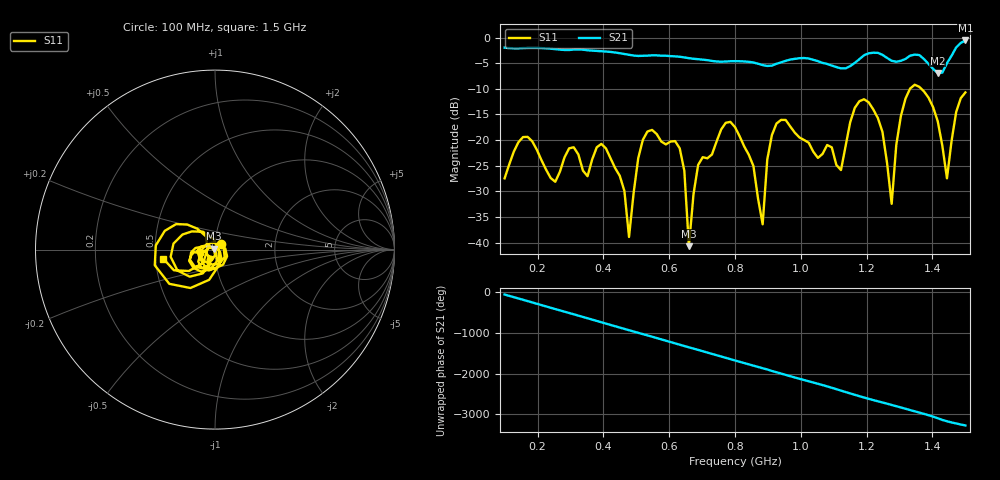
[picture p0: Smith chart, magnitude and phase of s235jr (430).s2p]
! NanoVNA-App
! Date: 2025-09-25 15:07:30
! Start: 100MHz Stop: 1,5GHz Points: 101
! S-Parameter data: F S11 S21 S12 S22
# Hz S RI R 50
!  Frequency  S11_Real  S11_Imag  S21_Real  S21_Imag  S12_Real  S12_Imag  S22_Real  S22_Imag
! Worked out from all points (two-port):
!   101 points, 100 MHz to 1.5 GHz, reference 50 ohm
!   highest |S21| = -0.56 dB at 1.5 GHz (marker M1); lowest = -6.9 dB at 1.416 GHz (marker M2)
!   |S21| within 3 dB of the highest: start of sweep to 501.7 MHz; 515.8 MHz to 593.7 MHz (77.85 MHz wide, 14 % of centre) (the widest 2 of 5)
!   lowest |S11| = -40.7 dB at 660 MHz (marker M3), VSWR 1.02, Z = 49.3 + j0.533 ohm
!   |S11| at or under -10 dB: start of sweep to 1.332 GHz; 1.366 GHz to end of sweep
!   S12 and S22 are empty: the file has one direction only
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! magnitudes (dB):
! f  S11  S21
! 100 MHz  -27.5  -2.0
! 156 MHz  -19.4  -2.0
! 338 MHz  -26.0  -2.4
! 408 MHz  -21.6  -2.7
! 478 MHz  -38.9  -3.4
! 520 MHz  -20.0  -3.5
! 576 MHz  -20.3  -3.5
! 632 MHz  -21.6  -3.7
! 660 MHz  -40.7  -4.0
! 688 MHz  -24.8  -4.2
! 800 MHz  -17.5  -4.6
! 884 MHz  -36.4  -5.4
! 926 MHz  -16.8  -5.1
! 1.038 GHz  -22.3  -4.3
! 1.122 GHz  -25.9  -6.0
! 1.206 GHz  -12.6  -3.1
! 1.248 GHz  -18.4  -3.4
! 1.276 GHz  -32.4  -4.5
! 1.332 GHz  -9.9  -3.5
! 1.416 GHz  -16.3  -6.9
! 1.444 GHz  -27.5  -5.0
! 1.5 GHz  -10.7  -0.6
